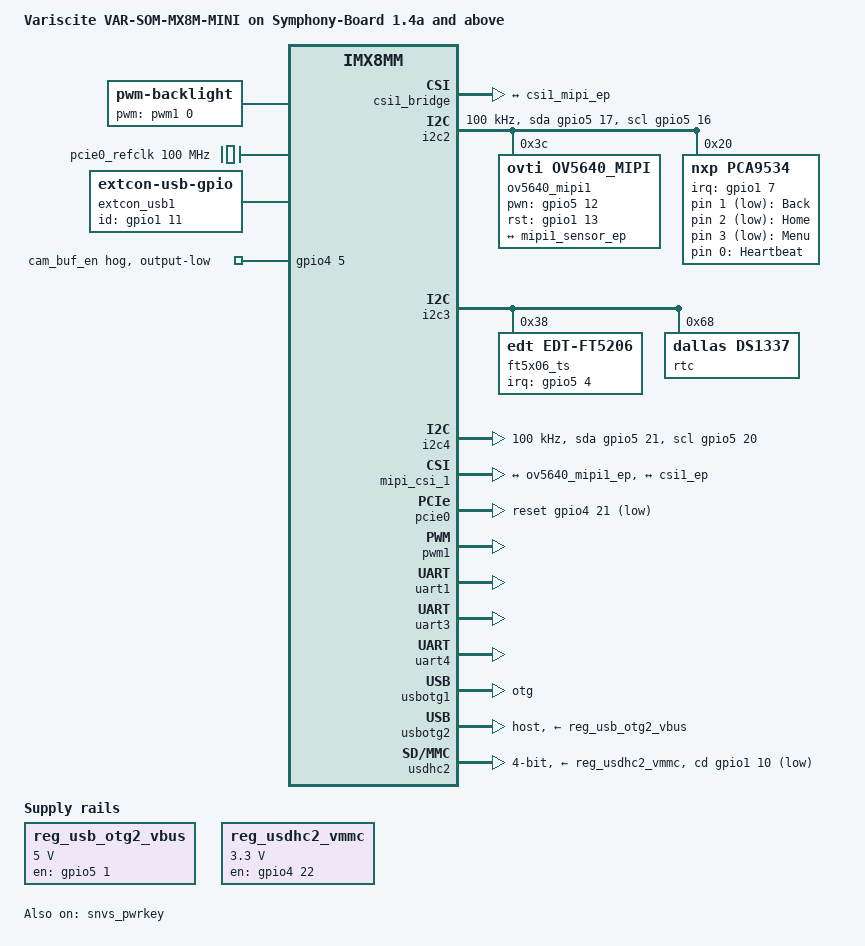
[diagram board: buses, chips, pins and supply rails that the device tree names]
// SPDX-License-Identifier: (GPL-2.0+ OR MIT)
/*
 * Copyright 2019 NXP
 * Copyright 2019-2020 Variscite Ltd.
 */

/dts-v1/;

#include <dt-bindings/usb/pd.h>
#include "imx8mm-var-som.dtsi"

/ {
	model = "Variscite VAR-SOM-MX8M-MINI on Symphony-Board 1.4a and above";
	compatible = "variscite,dart-mx8mm", "fsl,imx8mm";

	chosen {
		bootargs = "console=ttymxc3,115200 earlycon=ec_imx6q,0x30a60000,115200";

		bootargs-append = "console=ttymxc3,115200 earlycon=ec_imx6q,0x30a60000,115200 androidboot.console=ttymxc3 androidboot.board=varsommx8mmini androidboot.bt_uart=/dev/ttymxc1 androidboot.bt_sdio=/sys/bus/mmc/devices/mmc0:0001/mmc0:0001:1/device androidboot.bt_firmware=BCM43430A1.hcd androidboot.bt_sdio_id=0xa9a6 androidboot.wificountrycode=CN";
		stdout-path = &uart4;
	};

	backlight: backlight {
		compatible = "pwm-backlight";
		pwms = <&pwm1 0 1000000 0>;
		brightness-levels = < 0  1  2  3  4  5  6  7  8  9
				     10 11 12 13 14 15 16 17 18 19
				     20 21 22 23 24 25 26 27 28 29
				     30 31 32 33 34 35 36 37 38 39
				     40 41 42 43 44 45 46 47 48 49
				     50 51 52 53 54 55 56 57 58 59
				     60 61 62 63 64 65 66 67 68 69
				     70 71 72 73 74 75 76 77 78 79
				     80 81 82 83 84 85 86 87 88 89
				     90 91 92 93 94 95 96 97 98 99
				    100>;
		default-brightness-level = <80>;
		status = "okay";
	};

	gpio-keys {
		compatible = "gpio-keys";
		status = "okay";

		back {
			label = "Back";
			gpios = <&pca9534 1 GPIO_ACTIVE_LOW>;
			linux,code = <KEY_BACK>;
			wakeup-source;
		};

		home {
			label = "Home";
			gpios = <&pca9534 2 GPIO_ACTIVE_LOW>;
			linux,code = <KEY_HOME>;
			wakeup-source;
		};

		menu {
			label = "Menu";
			gpios = <&pca9534 3 GPIO_ACTIVE_LOW>;
			linux,code = <KEY_MENU>;
			wakeup-source;
		};
	};

	leds {
		compatible = "gpio-leds";
		status = "okay";

		heartbeat {
			label = "Heartbeat";
			gpios = <&pca9534 0 GPIO_ACTIVE_HIGH>;
			linux,default-trigger = "heartbeat";
		};
	};

	pcie0_refclk: pcie0-refclk {
		compatible = "fixed-clock";
		#clock-cells = <0>;
		clock-frequency = <100000000>;
	};

	reg_usb_otg2_vbus: regulator-usb-otg2-vbus {
		compatible = "regulator-fixed";
		pinctrl-names = "default", "sleep";
		pinctrl-0 = <&pinctrl_usbotg2>;
		pinctrl-1 = <&pinctrl_usbotg2_sleep>;
		regulator-name = "usb_otg2_vbus";
		regulator-min-microvolt = <5000000>;
		regulator-max-microvolt = <5000000>;
		gpio = <&gpio5 1 GPIO_ACTIVE_HIGH>;
		enable-active-high;
	};

	reg_usdhc2_vmmc: regulator-usdhc2 {
		compatible = "regulator-fixed";
		pinctrl-names = "default";
		pinctrl-0 = <&pinctrl_reg_usdhc2_vmmc>;
		regulator-name = "VSD_3V3";
		regulator-min-microvolt = <3300000>;
		regulator-max-microvolt = <3300000>;
		gpio = <&gpio4 22 GPIO_ACTIVE_HIGH>;
		off-on-delay-us = <20000>;
		enable-active-high;
	};

	extcon_usb1: extcon_usb1 {
		compatible = "linux,extcon-usb-gpio";
		pinctrl-names = "default";
		pinctrl-0 = <&pinctrl_extcon>;
		id-gpio = <&gpio1 11 GPIO_ACTIVE_HIGH>;
		status = "okay";
	};
};

&csi1_bridge {
	fsl,mipi-mode;
	status = "okay";
	port {
		csi1_ep: endpoint {
			remote-endpoint = <&csi1_mipi_ep>;
		};
	};
};

&gpio4 {
	cam_buf_hog {
		gpio-hog;
		gpios = <5 GPIO_ACTIVE_HIGH>;
		output-low;
		line-name = "cam_buf_en";
	};
};

&iomuxc {
	pinctrl_captouch: captouchgrp {
		fsl,pins = <
			MX8MM_IOMUXC_SPDIF_RX_GPIO5_IO4			0x16
		>;
	};

	pinctrl_csi1: csi1grp {
		fsl,pins = <
			MX8MM_IOMUXC_GPIO1_IO13_GPIO1_IO13		0x19 /* CAM_RST */
			MX8MM_IOMUXC_ECSPI2_MISO_GPIO5_IO12		0x19 /* CAM_PWR */
			MX8MM_IOMUXC_SAI1_RXD3_GPIO4_IO5		0x19 /* CAM_BUF */
		>;
	};

	pinctrl_i2c2: i2c2grp {
		fsl,pins = <
			MX8MM_IOMUXC_I2C2_SCL_I2C2_SCL			0x400001c3
			MX8MM_IOMUXC_I2C2_SDA_I2C2_SDA			0x400001c3
		>;
	};

	pinctrl_i2c4: i2c4grp {
		fsl,pins = <
			MX8MM_IOMUXC_I2C4_SCL_I2C4_SCL			0x400001c3
			MX8MM_IOMUXC_I2C4_SDA_I2C4_SDA			0x400001c3
		>;
	};

	pinctrl_i2c2_gpio: i2c2grp-gpio {
		fsl,pins = <
			MX8MM_IOMUXC_I2C2_SCL_GPIO5_IO16		0x1c3
			MX8MM_IOMUXC_I2C2_SDA_GPIO5_IO17		0x1c3
		>;
	};

	pinctrl_i2c4_gpio: i2c4grp-gpio {
		fsl,pins = <
			MX8MM_IOMUXC_I2C4_SCL_GPIO5_IO20		0x1c3
			MX8MM_IOMUXC_I2C4_SDA_GPIO5_IO21		0x1c3
		>;
	};

	pinctrl_pca9534: pca9534grp {
		fsl,pins = <
			MX8MM_IOMUXC_GPIO1_IO07_GPIO1_IO7		0x16
		>;
	};

	pinctrl_pcie0: pcie0grp {
		fsl,pins = <
			MX8MM_IOMUXC_SAI2_RXFS_GPIO4_IO21		0x41
		>;
	};

	pinctrl_pwm1: pwm1grp {
		fsl,pins = <
			MX8MM_IOMUXC_SPDIF_EXT_CLK_PWM1_OUT		0x06
		>;
	};

	pinctrl_uart1: uart1grp {
		fsl,pins = <
			MX8MM_IOMUXC_UART1_RXD_UART1_DCE_RX		0x140
			MX8MM_IOMUXC_UART1_TXD_UART1_DCE_TX		0x140
		>;
	};

	pinctrl_uart3: uart3grp {
		fsl,pins = <
			MX8MM_IOMUXC_UART3_RXD_UART3_DCE_RX		0x140
			MX8MM_IOMUXC_UART3_TXD_UART3_DCE_TX		0x140
		>;
	};

	pinctrl_uart4: uart4grp {
		fsl,pins = <
			MX8MM_IOMUXC_UART4_RXD_UART4_DCE_RX		0x140
			MX8MM_IOMUXC_UART4_TXD_UART4_DCE_TX		0x140
		>;
	};

	pinctrl_usdhc2_gpio: usdhc2grpgpio {
		fsl,pins = <
			MX8MM_IOMUXC_GPIO1_IO10_GPIO1_IO10		0xc1
		>;
	};

	pinctrl_reg_usdhc2_vmmc: regusdhc2vmmc {
		fsl,pins = <
			MX8MM_IOMUXC_SAI2_RXC_GPIO4_IO22		0x41
		>;
	};

	pinctrl_usbotg2: usbotg2grp {
		fsl,pins = <
			MX8MM_IOMUXC_SAI3_TXD_GPIO5_IO1			0x16
		>;
	};

	pinctrl_usbotg2_sleep: usbotg2grpsleep {
		fsl,pins = <
			MX8MM_IOMUXC_SAI3_TXD_GPIO5_IO1			0x120
		>;
	};


	pinctrl_usdhc2: usdhc2grp {
		fsl,pins = <
			MX8MM_IOMUXC_SD2_CLK_USDHC2_CLK			0x190
			MX8MM_IOMUXC_SD2_CMD_USDHC2_CMD			0x1d0
			MX8MM_IOMUXC_SD2_DATA0_USDHC2_DATA0		0x1d0
			MX8MM_IOMUXC_SD2_DATA1_USDHC2_DATA1		0x1d0
			MX8MM_IOMUXC_SD2_DATA2_USDHC2_DATA2		0x1d0
			MX8MM_IOMUXC_SD2_DATA3_USDHC2_DATA3		0x1d0
			MX8MM_IOMUXC_GPIO1_IO04_USDHC2_VSELECT		0x1d0
		>;
	};

	pinctrl_usdhc2_100mhz: usdhc2grp100mhz {
		fsl,pins = <
			MX8MM_IOMUXC_SD2_CLK_USDHC2_CLK			0x194
			MX8MM_IOMUXC_SD2_CMD_USDHC2_CMD			0x1d4
			MX8MM_IOMUXC_SD2_DATA0_USDHC2_DATA0		0x1d4
			MX8MM_IOMUXC_SD2_DATA1_USDHC2_DATA1		0x1d4
			MX8MM_IOMUXC_SD2_DATA2_USDHC2_DATA2		0x1d4
			MX8MM_IOMUXC_SD2_DATA3_USDHC2_DATA3		0x1d4
			MX8MM_IOMUXC_GPIO1_IO04_USDHC2_VSELECT		0x1d0
		>;
	};

	pinctrl_usdhc2_200mhz: usdhc2grp200mhz {
		fsl,pins = <
			MX8MM_IOMUXC_SD2_CLK_USDHC2_CLK			0x196
			MX8MM_IOMUXC_SD2_CMD_USDHC2_CMD			0x1d6
			MX8MM_IOMUXC_SD2_DATA0_USDHC2_DATA0		0x1d6
			MX8MM_IOMUXC_SD2_DATA1_USDHC2_DATA1		0x1d6
			MX8MM_IOMUXC_SD2_DATA2_USDHC2_DATA2		0x1d6
			MX8MM_IOMUXC_SD2_DATA3_USDHC2_DATA3		0x1d6
			MX8MM_IOMUXC_GPIO1_IO04_USDHC2_VSELECT		0x1d0
		>;
	};

	pinctrl_extcon: extcongrp {
		fsl,pins = <
			MX8MM_IOMUXC_GPIO1_IO11_GPIO1_IO11		0x16
		>;
	};
};

&i2c2 {
	clock-frequency = <100000>;
	pinctrl-names = "default", "gpio";
	pinctrl-0 = <&pinctrl_i2c2>;
	pinctrl-1 = <&pinctrl_i2c2_gpio>;
	scl-gpios = <&gpio5 16 GPIO_ACTIVE_HIGH>;
	sda-gpios = <&gpio5 17 GPIO_ACTIVE_HIGH>;
	status = "okay";

	ov5640_mipi1: ov5640_mipi1@3c {
		status = "okay";
		compatible = "ovti,ov5640_mipi";
		reg = <0x3c>;
		pinctrl-names = "default";
		pinctrl-0 = <&pinctrl_csi1>;
		clocks = <&clk IMX8MM_CLK_CLKO1>;
		clock-names = "csi_mclk";
/* Disabled CLKO2, since VAR-SOM-MX8M-MINI camera expansion board uses
 * its own oscillator. Enable CLK02 if your design requires it
 */
#if 0
		assigned-clocks = <&clk IMX8MM_CLK_CLKO1>;
		assigned-clock-parents = <&clk IMX8MM_CLK_24M>;
		assigned-clock-rates = <24000000>;
#endif
		csi_id = <0>;
		pwn-gpios = <&gpio5 12 GPIO_ACTIVE_HIGH>;
		rst-gpios = <&gpio1 13 GPIO_ACTIVE_HIGH>;
		mclk = <24000000>;
		mclk_source = <0>;
		port {
			ov5640_mipi1_ep: endpoint {
				remote-endpoint = <&mipi1_sensor_ep>;
			};
		};
	};

	/* GPIO expander */
	pca9534: gpio@20 {
		compatible = "nxp,pca9534";
		reg = <0x20>;
		gpio-controller;
		pinctrl-names = "default";
		pinctrl-0 = <&pinctrl_pca9534>;
		interrupt-parent = <&gpio1>;
		interrupts = <7 IRQ_TYPE_EDGE_FALLING>;
		#gpio-cells = <2>;
		wakeup-source;

		usb3_sel_hog {
			gpio-hog;
			gpios = <4 GPIO_ACTIVE_HIGH>;
			output-low;
			line-name = "usb3_sel";
		};

		enet_rst_hog {
			gpio-hog;
			gpios = <5 GPIO_ACTIVE_HIGH>;
			output-low;
			line-name = "enet_rst";
		};

		som_vsel_hog {
			gpio-hog;
			gpios = <6 GPIO_ACTIVE_HIGH>;
			output-low;
			line-name = "som_vsel";
		};

		enet_sel_hog {
			gpio-hog;
			gpios = <7 GPIO_ACTIVE_HIGH>;
			output-low;
			line-name = "enet_sel";
		};
	};
};

&i2c3 {
	/* Capacitive touch controller */
	ft5x06_ts: ft5x06_ts@38 {
		status = "okay";
		compatible = "edt,edt-ft5206";
		reg = <0x38>;
		pinctrl-names = "default";
		pinctrl-0 = <&pinctrl_captouch>;
		interrupt-parent = <&gpio5>;
		interrupts = <4 IRQ_TYPE_EDGE_FALLING>;
		touchscreen-size-x = <800>;
		touchscreen-size-y = <480>;
		touchscreen-inverted-x;
		touchscreen-inverted-y;
		wakeup-source;
	};

	/* DS1337 RTC module */
	rtc@68 {
		status = "okay";
		compatible = "dallas,ds1337";
		reg = <0x68>;
	};
};

&i2c4 {
	clock-frequency = <100000>;
	pinctrl-names = "default", "gpio";
	pinctrl-0 = <&pinctrl_i2c4>;
	pinctrl-1 = <&pinctrl_i2c4_gpio>;
	scl-gpios = <&gpio5 20 GPIO_ACTIVE_HIGH>;
	sda-gpios = <&gpio5 21 GPIO_ACTIVE_HIGH>;
	status = "okay";
};

&mipi_csi_1 {
	#address-cells = <1>;
	#size-cells = <0>;
	status = "okay";
	port {
		mipi1_sensor_ep: endpoint@1 {
			remote-endpoint = <&ov5640_mipi1_ep>;
			data-lanes = <2>;
			csis-hs-settle = <13>;
			csis-clk-settle = <2>;
			csis-wclk;
		};

		csi1_mipi_ep: endpoint@2 {
			remote-endpoint = <&csi1_ep>;
		};
	};
};

&pcie0{
	pinctrl-names = "default";
	pinctrl-0 = <&pinctrl_pcie0>;
	reset-gpio = <&gpio4 21 GPIO_ACTIVE_LOW>;
	clocks = <&clk IMX8MM_CLK_PCIE1_ROOT>,
		 <&clk IMX8MM_CLK_PCIE1_AUX>,
		 <&clk IMX8MM_CLK_PCIE1_PHY>,
		 <&pcie0_refclk>;
	clock-names = "pcie", "pcie_aux", "pcie_phy", "pcie_bus";
	assigned-clocks = <&clk IMX8MM_CLK_PCIE1_AUX>,
			  <&clk IMX8MM_CLK_PCIE1_PHY>,
			  <&clk IMX8MM_CLK_PCIE1_CTRL>;
	assigned-clock-rates = <10000000>, <100000000>, <250000000>;
	assigned-clock-parents = <&clk IMX8MM_SYS_PLL2_50M>,
				 <&clk IMX8MM_SYS_PLL2_100M>,
				 <&clk IMX8MM_SYS_PLL2_250M>;
	ext_osc = <1>;
	status = "okay";
};

&pwm1 {
	status = "okay";
	pinctrl-names = "default";
	pinctrl-0 = <&pinctrl_pwm1>;
};

&snvs_pwrkey {
	status = "okay";
};

&snvs_rtc {
	status = "disabled";
};

/* Header */
&uart1 {
	pinctrl-names = "default";
	pinctrl-0 = <&pinctrl_uart1>;
	status = "okay";
};

/* Header */
&uart3 {
	pinctrl-names = "default";
	pinctrl-0 = <&pinctrl_uart3>;
	status = "okay";
};

/* Console */
&uart4 {
	pinctrl-names = "default";
	pinctrl-0 = <&pinctrl_uart4>;
	/delete-property/ dmas;
	/delete-property/ dma-names;
	status = "okay";
};

&usbotg1 {
	dr_mode = "otg";
	picophy,pre-emp-curr-control = <3>;
	picophy,dc-vol-level-adjust = <7>;
	extcon = <0>, <&extcon_usb1>;
	status = "okay";
};

&usbotg2 {
	dr_mode = "host";
	vbus-supply = <&reg_usb_otg2_vbus>;
	picophy,pre-emp-curr-control = <3>;
	picophy,dc-vol-level-adjust = <7>;
	srp-disable;
	hnp-disable;
	adp-disable;
	disable-over-current;
	status = "okay";
};

/* SD */
&usdhc2 {
	pinctrl-names = "default", "state_100mhz", "state_200mhz";
	pinctrl-0 = <&pinctrl_usdhc2>, <&pinctrl_usdhc2_gpio>;
	pinctrl-1 = <&pinctrl_usdhc2_100mhz>, <&pinctrl_usdhc2_gpio>;
	pinctrl-2 = <&pinctrl_usdhc2_200mhz>, <&pinctrl_usdhc2_gpio>;
	cd-gpios = <&gpio1 10 GPIO_ACTIVE_LOW>;
	bus-width = <4>;
	vmmc-supply = <&reg_usdhc2_vmmc>;
	status = "okay";
};
